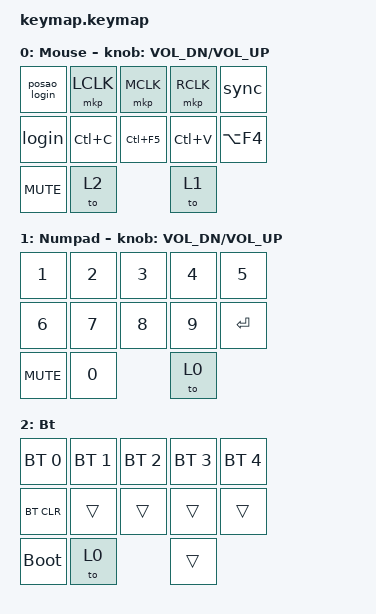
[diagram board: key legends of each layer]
#include <behaviors.dtsi>
#include <dt-bindings/zmk/bt.h>
#include <dt-bindings/zmk/keys.h>
#include <dt-bindings/zmk/pointing.h>
#include <dt-bindings/zmk/pointing.h>
#include <dt-bindings/zmk/pointing.h>

&encoder { status = "okay"; };


/ {
    macros {
        login: login {
            compatible = "zmk,behavior-macro";
            #binding-cells = <0>;
            bindings = <&kp N5 &kp N5 &kp N8 &kp N5>;
            label = "LOGIN";
        };

        posao_login: posao_login {
            compatible = "zmk,behavior-macro";
            #binding-cells = <0>;
            bindings = <&kp N2 &kp N2 &kp N3 &kp N3>;
            label = "POSAO_LOGIN";
        };

        sync: sync {
            compatible = "zmk,behavior-macro";
            #binding-cells = <0>;
            bindings = <&kp S &kp Y &kp N &kp C>;
            label = "SYNC";
        };
    };

    keymap {
        compatible = "zmk,keymap";

        Mouse {
            bindings = <
                &posao_login  &mkp LCLK  &mkp MCLK   &mkp RCLK  &sync
                &login        &kp LC(C)  &kp LC(F5)  &kp LC(V)  &kp LA(F4)
                &kp C_MUTE    &to 2                  &to 1
            >;

            sensor-bindings = <&inc_dec_kp C_VOL_DN C_VOL_UP>;
        };

        Numpad {
            bindings = <
                &kp N1      &kp N2  &kp N3  &kp N4  &kp N5
                &kp N6      &kp N7  &kp N8  &kp N9  &kp RET
                &kp C_MUTE  &kp N0          &to 0
            >;

            sensor-bindings = <&inc_dec_kp C_VOL_DN C_VOL_UP>;
        };

        Bt {
            bindings = <
                &bt BT_SEL 0  &bt BT_SEL 1  &bt BT_SEL 2  &bt BT_SEL 3  &bt BT_SEL 4
                &bt BT_CLR    &trans        &trans        &trans        &trans
                &bootloader   &to 0                       &trans
            >;
        };
    };
};
